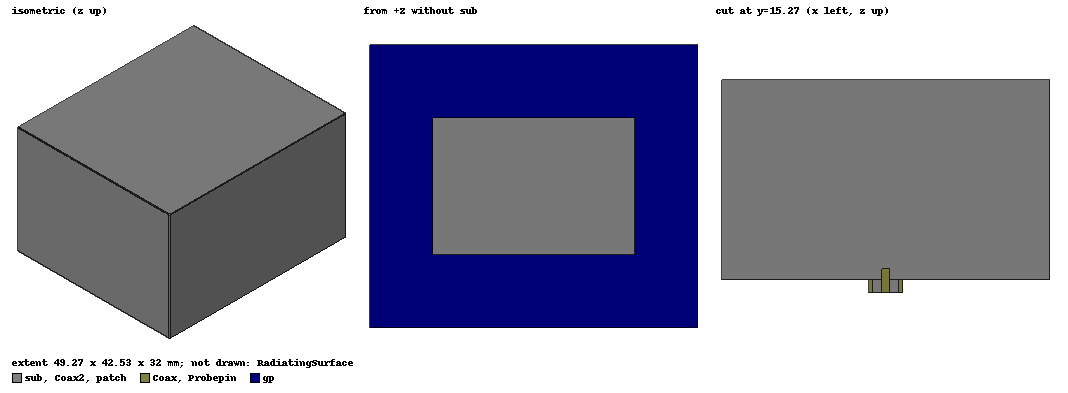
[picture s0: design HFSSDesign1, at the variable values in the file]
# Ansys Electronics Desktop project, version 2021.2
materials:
  vacuum: permittivity=1
  FR4_epoxy: permittivity=4.4 dielectric_loss_tangent=0.02
  pec: conductivity=1e+30
  Material1: permittivity=1.9
  air: permittivity=1.0006 permeability=1.0000004
  bakelite: permittivity=4.8 conductivity=1e-09 dielectric_loss_tangent=0.002
  NdFe30: permittivity=1 permeability=1.044573 conductivity=625000 magnetic_coercivity{Magnitude=-838000A_per_meter DirComp1=1 DirComp2=0 DirComp3=0} lande_g_factor=2

design HFSSDesign1 (HFSS, DrivenModal, model units mm)
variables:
  Widthground = 49.269mm
  LengthGround = 42.5318mm
  widthpatch = 30.429mm
  lengthpatch = 20.4318mm
  distx = 0mm
  disty = 6mm
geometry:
  sub [FR4_epoxy] = box(corner=(0mm, 0mm, 0mm), size=(Widthground, LengthGround, 30mm))
  gp = rectangle(corner=(0mm, 0mm, 0mm), x_size=Widthground, y_size=LengthGround)
  Circle1 = circle(normal=Z, centre=(Widthground/2 -distx, LengthGround/2-disty, 0mm), radius=2.0125mm)
  gp.subtract(Circle1)
  patch = rectangle(corner=(Widthground/2 - widthpatch /2, LengthGround/2-lengthpatch/2, 1.6mm), x_size=widthpatch, y_size=lengthpatch)
  subcut = cylinder(axis=Z, base_centre=(Widthground/2 -distx, LengthGround/2-disty, 0mm), radius=0.6375mm, height=1.6mm)
  sub.subtract(subcut)
  Coax [pec] = cylinder(axis=Z, base_centre=(Widthground/2-distx, LengthGround/2-disty, -2mm), radius=2.5mm, height=2mm)
  Coax1 = cylinder(axis=Z, base_centre=(Widthground/2 -distx, LengthGround/2-disty, -2mm), radius=2.0125mm, height=2mm)
  Coax.subtract(Coax1)
  Coax2 [Material1] = cylinder(axis=Z, base_centre=(Widthground/2 -distx, LengthGround/2-disty, -2mm), radius=2.0125mm, height=2mm)
  Coax3 = cylinder(axis=Z, base_centre=(Widthground/2 - distx, LengthGround/2-disty, -2mm), radius=0.6375mm, height=2mm)
  Coax2.subtract(Coax3)
  Probepin [pec] = cylinder(axis=Z, base_centre=(Widthground/2 -distx, LengthGround/2-disty, -2mm), radius=0.6375mm, height=3.6mm)
  port = circle(normal=Z, centre=(Widthground/2 -distx, LengthGround/2-disty, -2mm), radius=2.0125mm)
  RadiatingSurface [air] = region(absolute_offset: +X=40mm, -X=40mm, +Y=40mm, -Y=40mm, +Z=40mm, -Z=0)
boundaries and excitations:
  PerfE1: Perfect E Objects=gp InfGroundPlane
  PerfE2: Perfect E Objects=patch
  Open1: Radiation Faces=RadiatingSurface.face(+z, -y, -x, +y, +x)
  Open_InfiniteGnd1: Perfect E Faces=RadiatingSurface.face(-z) InfGroundPlane
  1: Wave Port Objects=port NumModes=1 Modes{Mode1{IntLine{centre of port.face -> port.edge(1 of 1) at -0.25 along} CharImp=Zpi}}
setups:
  Setup1: HfssDriven Frequency=3GHz MaxDeltaS=0.02 MaximumPasses=6 MinimumPasses=1 MinimumConvergedPasses=1 PercentRefinement=30 BasisOrder=1 PortAccuracy=2
    sweep Sweep: 2GHz to 3.5GHz, 100 points; Type=Fast SaveFields
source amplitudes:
  1:1: 1W 0deg
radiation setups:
  3D: Infinite Sphere Theta=0deg..180deg step 2deg Phi=-180deg..180deg step 2deg
  Elevation: Infinite Sphere Theta=-180deg..180deg step 1deg Phi=0deg..90deg step 90deg
  Azimuth: Infinite Sphere Theta=90deg..90deg step 0deg Phi=-180deg..180deg step 1deg
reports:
  S Parameter Plot 1: dB(S(1,1)) vs Freq on Setup1 : Sweep [widthpatch=all]
  S Parameter Plot 2: dB(S(1,1)) vs Freq on Setup1 : Sweep [widthpatch=30.429mm]
  Gain Plot 1: dB(GainTotal) vs Theta on Setup1 : LastAdaptive, Elevation [Phi=all Freq=3GHz widthpatch=all]
  Gain Plot 2: dB(GainTotal) vs Theta on Setup1 : LastAdaptive, Elevation [Phi=all Freq=3GHz widthpatch=30.429mm]
